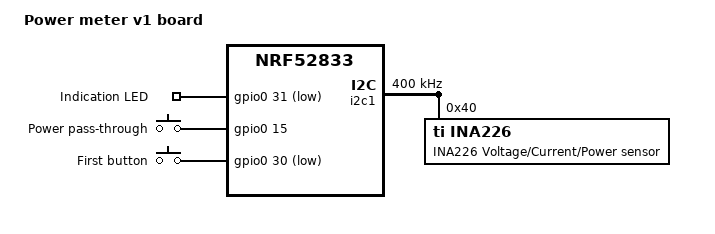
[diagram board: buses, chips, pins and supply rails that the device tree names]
/dts-v1/;
#include <nordic/nrf52833_qiaa.dtsi>
#include "board-pinctrl.dtsi"

/ {
	model = "Power meter v1 board";
	compatible = "aeremin,power_meter";

	chosen {
		zephyr,sram = &sram0;
		zephyr,flash = &flash0;
	};

	power_control {
		compatible = "gpio-keys";
		led1: led1 {
			gpios = <&gpio0 31 (GPIO_ACTIVE_LOW | GPIO_PULL_UP)>;
			label = "Indication LED";
		};

		power_en: power_en {
			gpios = <&gpio0 15 (GPIO_ACTIVE_HIGH | GPIO_PULL_DOWN)>;
			label = "Power pass-through";
		};
	};

	buttons {
		compatible = "gpio-keys";
		button_sw1: button_sw1 {
			gpios = <&gpio0 30 (GPIO_PULL_UP | GPIO_ACTIVE_LOW)>;
			label = "First button";
		};
	};
};

&gpio0 {
	status = "okay";
};

&flash0 {
	partitions {
		compatible = "fixed-partitions";
		#address-cells = <1>;
		#size-cells = <1>;

		boot_partition: partition@0 {
			label = "mcuboot";
			reg = <0x00000000 0xC000>;
		};
		slot0_partition: partition@c000 {
			label = "image-0";
			reg = <0x0000C000 0x32000>;
		};
		slot1_partition: partition@3e000 {
			label = "image-1";
			reg = <0x0003E000 0x32000>;
		};
		scratch_partition: partition@70000 {
			label = "image-scratch";
			reg = <0x00070000 0xA000>;
		};
		storage_partition: partition@7a000 {
			label = "storage";
			reg = <0x0007A000 0x00006000>;
		};
	};
};

&i2c1 {
	compatible = "nordic,nrf-twi";
	status = "okay";
	pinctrl-0 = <&i2c1_default>;
	pinctrl-names = "default";
	clock-frequency = <I2C_BITRATE_FAST>;

	// Datasheet: https: //www.ti.com/lit/ds/symlink/ina226.pdf
	ina226: ina226@40 {
		compatible = "ti,ina226";
		// According to `Table 2. Address Pins and Slave Addresses`, when A0 and A1 are connected to the ground,
		// address is 0b0100 0000
		reg = <0x40>;
		label = "INA226 Voltage/Current/Power sensor";
	};
};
